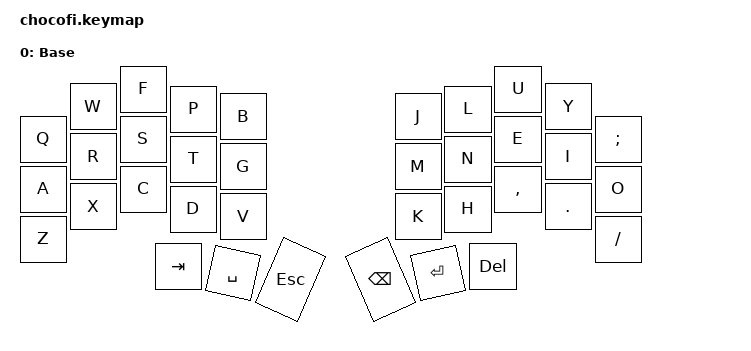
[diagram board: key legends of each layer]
#include <behaviors.dtsi>
#include <dt-bindings/zmk/bt.h>
#include <dt-bindings/zmk/keys.h>
#include <dt-bindings/zmk/outputs.h>
#include <dt-bindings/zmk/pointing.h>

/ {
    keymap {
        compatible = "zmk,keymap";

        default_layer {
            display-name = "Base";
            bindings = <
&kp Q  &kp W  &kp F    &kp P      &kp B      &kp J     &kp L    &kp U      &kp Y    &kp SEMI
&kp A  &kp R  &kp S    &kp T      &kp G      &kp M     &kp N    &kp E      &kp I    &kp O
&kp Z  &kp X  &kp C    &kp D      &kp V      &kp K     &kp H    &kp COMMA  &kp DOT  &kp FSLH
              &kp TAB  &kp SPACE  &kp ESC    &kp BSPC  &kp RET  &kp DEL
            >;
        };
    };
};
